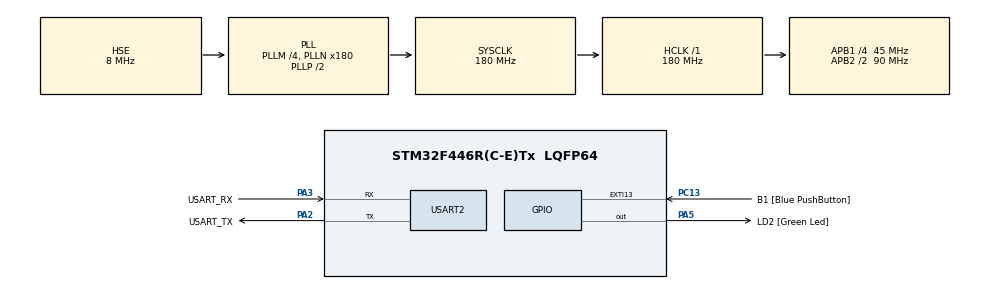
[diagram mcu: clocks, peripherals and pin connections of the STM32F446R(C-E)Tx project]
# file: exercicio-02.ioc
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FREERTOS.CountingSemaphores01=CountingSem,2,Dynamic,NULL,0
FREERTOS.Tasks01=Task01,32,128,StartTask01,Default,NULL,Dynamic,NULL,NULL;Task02,24,128,StartTask02,Default,NULL,Dynamic,NULL,NULL;Task03,16,128,StartTask03,Default,NULL,Dynamic,NULL,NULL
FREERTOS.configUSE_NEWLIB_REENTRANT=1
Mcu.Family=STM32F4
Mcu.Name=STM32F446R(C-E)Tx
Mcu.Package=LQFP64
NVIC.EXTI15_10_IRQn=true\:5\:0\:false\:false\:true\:true\:true\:true\:true
NVIC.PriorityGroup=NVIC_PRIORITYGROUP_4
NVIC.TIM2_IRQn=true\:15\:0\:false\:false\:true\:false\:false\:true\:true
NVIC.TimeBase=TIM2_IRQn
NVIC.TimeBaseIP=TIM2
PA13.GPIO_Label=TMS
PA13.Mode=Serial_Wire
PA13.Signal=SYS_JTMS-SWDIO
PA14.GPIO_Label=TCK
PA14.Mode=Serial_Wire
PA14.Signal=SYS_JTCK-SWCLK
PA2.GPIO_Label=USART_TX
PA2.Mode=Asynchronous
PA2.Signal=USART2_TX
PA3.GPIO_Label=USART_RX
PA3.Mode=Asynchronous
PA3.Signal=USART2_RX
PA5.GPIO_Label=LD2 [Green Led]
PA5.Signal=GPIO_Output
PB3.GPIO_Label=SWO
PB3.Signal=SYS_JTDO-SWO
PC13.GPIO_Label=B1 [Blue PushButton]
PC13.GPIO_ModeDefaultEXTI=GPIO_MODE_IT_FALLING
PC13.Signal=GPXTI13
PC14-OSC32_IN.Mode=LSE-External-Oscillator
PC14-OSC32_IN.Signal=RCC_OSC32_IN
PC15-OSC32_OUT.Mode=LSE-External-Oscillator
PC15-OSC32_OUT.Signal=RCC_OSC32_OUT
PH0-OSC_IN.Mode=HSE-External-Oscillator
PH0-OSC_IN.Signal=RCC_OSC_IN
PH1-OSC_OUT.Mode=HSE-External-Oscillator
PH1-OSC_OUT.Signal=RCC_OSC_OUT
ProjectManager.HeapSize=0x200
ProjectManager.StackSize=0x400
ProjectManager.TargetToolchain=STM32CubeIDE
RCC.48MHZClocksFreq_Value=84000000
RCC.AHBFreq_Value=180000000
RCC.APB1CLKDivider=RCC_HCLK_DIV4
RCC.APB1Freq_Value=45000000
RCC.APB1TimFreq_Value=90000000
RCC.APB2CLKDivider=RCC_HCLK_DIV2
RCC.APB2Freq_Value=90000000
RCC.APB2TimFreq_Value=180000000
RCC.CortexFreq_Value=180000000
RCC.EnbaleCSS=true
RCC.FLatency-AdvancedSettings=FLASH_LATENCY_5
RCC.HCLKFreq_Value=180000000
RCC.HSE_VALUE=8000000
RCC.HSI_VALUE=16000000
RCC.PLLM=4
RCC.PLLN=180
RCC.PLLSourceVirtual=RCC_PLLSOURCE_HSE
RCC.SYSCLKFreq_VALUE=180000000
RCC.SYSCLKSource=RCC_SYSCLKSOURCE_PLLCLK
RCC.USBFreq_Value=180000000
RCC.VCOOutputFreq_Value=360000000
USART2.VirtualMode=VM_ASYNC
VP_FREERTOS_VS_CMSIS_V2.Mode=CMSIS_V2
VP_SYS_VS_tim2.Mode=TIM2
board=NUCLEO-F446RE

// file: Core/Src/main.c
/* USER CODE BEGIN Header */
/**
  ******************************************************************************
  * @file           : main.c
  * @brief          : Main program body
  ******************************************************************************
  * @attention
  *
  * Copyright (c) 2025 STMicroelectronics.
  * All rights reserved.
  *
  * This software is licensed under terms that can be found in the LICENSE file
  * in the root directory of this software component.
  * If no LICENSE file comes with this software, it is provided AS-IS.
  *
  ******************************************************************************
  */
/* USER CODE END Header */
#include "main.h"
#include "cmsis_os.h"

/* USER CODE BEGIN Includes */
#include <stdio.h>
#include <string.h>
/* USER CODE END Includes */

UART_HandleTypeDef huart2;

/* Definitions for Task01 */
osThreadId_t Task01Handle;
const osThreadAttr_t Task01_attributes = {
  .name = "Task01",
  .stack_size = 128 * 4,
  .priority = (osPriority_t) osPriorityAboveNormal,
};
/* Definitions for Task02 */
osThreadId_t Task02Handle;
const osThreadAttr_t Task02_attributes = {
  .name = "Task02",
  .stack_size = 128 * 4,
  .priority = (osPriority_t) osPriorityNormal,
};
/* Definitions for Task03 */
osThreadId_t Task03Handle;
const osThreadAttr_t Task03_attributes = {
  .name = "Task03",
  .stack_size = 128 * 4,
  .priority = (osPriority_t) osPriorityBelowNormal,
};
/* Definitions for CountingSem */
osSemaphoreId_t CountingSemHandle;
const osSemaphoreAttr_t CountingSem_attributes = {
  .name = "CountingSem"
};
/* USER CODE BEGIN PV */
int val_sem = 0;
char buffer[50];
/* USER CODE END PV */

void SystemClock_Config(void);
static void MX_GPIO_Init(void);
static void MX_USART2_UART_Init(void);
void StartTask01(void *argument);
void StartTask02(void *argument);
void StartTask03(void *argument);

int main(void)
{

  /* MCU Configuration--------------------------------------------------------*/

  /* Reset of all peripherals, Initializes the Flash interface and the Systick. */
  HAL_Init();

  /* Configure the system clock */
  SystemClock_Config();

  /* Initialize all configured peripherals */
  MX_GPIO_Init();
  MX_USART2_UART_Init();

  /* Init scheduler */
  osKernelInitialize();

  /* Create the semaphores(s) */
  /* creation of CountingSem */
  CountingSemHandle = osSemaphoreNew(2, 0, &CountingSem_attributes);

  /* Create the thread(s) */
  /* creation of Task01 */
  Task01Handle = osThreadNew(StartTask01, NULL, &Task01_attributes);

  /* creation of Task02 */
  Task02Handle = osThreadNew(StartTask02, NULL, &Task02_attributes);

  /* creation of Task03 */
  Task03Handle = osThreadNew(StartTask03, NULL, &Task03_attributes);

  /* Start scheduler */
  osKernelStart();

  /* We should never get here as control is now taken by the scheduler */

  /* Infinite loop */
  while (1)
  {

  }
}

void SystemClock_Config(void)
{
  RCC_OscInitTypeDef RCC_OscInitStruct = {0};
  RCC_ClkInitTypeDef RCC_ClkInitStruct = {0};

  /** Configure the main internal regulator output voltage
  */
  __HAL_RCC_PWR_CLK_ENABLE();
  __HAL_PWR_VOLTAGESCALING_CONFIG(PWR_REGULATOR_VOLTAGE_SCALE1);

  /** Initializes the RCC Oscillators according to the specified parameters
  * in the RCC_OscInitTypeDef structure.
  */
  RCC_OscInitStruct.OscillatorType = RCC_OSCILLATORTYPE_HSE;
  RCC_OscInitStruct.HSEState = RCC_HSE_ON;
  RCC_OscInitStruct.PLL.PLLState = RCC_PLL_ON;
  RCC_OscInitStruct.PLL.PLLSource = RCC_PLLSOURCE_HSE;
  RCC_OscInitStruct.PLL.PLLM = 4;
  RCC_OscInitStruct.PLL.PLLN = 180;
  RCC_OscInitStruct.PLL.PLLP = RCC_PLLP_DIV2;
  RCC_OscInitStruct.PLL.PLLQ = 2;
  RCC_OscInitStruct.PLL.PLLR = 2;
  if (HAL_RCC_OscConfig(&RCC_OscInitStruct) != HAL_OK)
  {
    Error_Handler();
  }

  /** Activate the Over-Drive mode
  */
  if (HAL_PWREx_EnableOverDrive() != HAL_OK)
  {
    Error_Handler();
  }

  /** Initializes the CPU, AHB and APB buses clocks
  */
  RCC_ClkInitStruct.ClockType = RCC_CLOCKTYPE_HCLK|RCC_CLOCKTYPE_SYSCLK
                              |RCC_CLOCKTYPE_PCLK1|RCC_CLOCKTYPE_PCLK2;
  RCC_ClkInitStruct.SYSCLKSource = RCC_SYSCLKSOURCE_PLLCLK;
  RCC_ClkInitStruct.AHBCLKDivider = RCC_SYSCLK_DIV1;
  RCC_ClkInitStruct.APB1CLKDivider = RCC_HCLK_DIV4;
  RCC_ClkInitStruct.APB2CLKDivider = RCC_HCLK_DIV2;

  if (HAL_RCC_ClockConfig(&RCC_ClkInitStruct, FLASH_LATENCY_5) != HAL_OK)
  {
    Error_Handler();
  }

  /** Enables the Clock Security System
  */
  HAL_RCC_EnableCSS();
}

static void MX_USART2_UART_Init(void)
{

  huart2.Instance = USART2;
  huart2.Init.BaudRate = 115200;
  huart2.Init.WordLength = UART_WORDLENGTH_8B;
  huart2.Init.StopBits = UART_STOPBITS_1;
  huart2.Init.Parity = UART_PARITY_NONE;
  huart2.Init.Mode = UART_MODE_TX_RX;
  huart2.Init.HwFlowCtl = UART_HWCONTROL_NONE;
  huart2.Init.OverSampling = UART_OVERSAMPLING_16;
  if (HAL_UART_Init(&huart2) != HAL_OK)
  {
    Error_Handler();
  }

}

static void MX_GPIO_Init(void)
{
  GPIO_InitTypeDef GPIO_InitStruct = {0};

  /* GPIO Ports Clock Enable */
  __HAL_RCC_GPIOC_CLK_ENABLE();
  __HAL_RCC_GPIOH_CLK_ENABLE();
  __HAL_RCC_GPIOA_CLK_ENABLE();
  __HAL_RCC_GPIOB_CLK_ENABLE();

  /*Configure GPIO pin Output Level */
  HAL_GPIO_WritePin(LD2_GPIO_Port, LD2_Pin, GPIO_PIN_RESET);

  /*Configure GPIO pin : B1_Pin */
  GPIO_InitStruct.Pin = B1_Pin;
  GPIO_InitStruct.Mode = GPIO_MODE_IT_FALLING;
  GPIO_InitStruct.Pull = GPIO_NOPULL;
  HAL_GPIO_Init(B1_GPIO_Port, &GPIO_InitStruct);

  /*Configure GPIO pin : LD2_Pin */
  GPIO_InitStruct.Pin = LD2_Pin;
  GPIO_InitStruct.Mode = GPIO_MODE_OUTPUT_PP;
  GPIO_InitStruct.Pull = GPIO_NOPULL;
  GPIO_InitStruct.Speed = GPIO_SPEED_FREQ_LOW;
  HAL_GPIO_Init(LD2_GPIO_Port, &GPIO_InitStruct);

  /* EXTI interrupt init*/
  HAL_NVIC_SetPriority(EXTI15_10_IRQn, 5, 0);
  HAL_NVIC_EnableIRQ(EXTI15_10_IRQn);

}

/* USER CODE BEGIN 4 */
void HAL_GPIO_EXTI_Callback(uint16_t GPIO_Pin) {
	if (GPIO_Pin == B1_Pin) // B1_Pin é o pino do botão (PC13)
	{
		osSemaphoreRelease(CountingSemHandle);
	}
}
/* USER CODE END 4 */

void StartTask01(void *argument)
{
  /* USER CODE BEGIN 5 */
	/* Infinite loop */
	for (;;) {
		HAL_UART_Transmit(&huart2, (uint8_t*) "task01 aguardando semaforo...\n",
						strlen("task01 aguardando semaforo...\n"), 10);

		osSemaphoreAcquire(CountingSemHandle, osWaitForever);

		HAL_UART_Transmit(&huart2, (uint8_t*) "executando task01...\n",
				strlen("executando task01...\n"), 10);

		osDelay(1000);
	}
  /* USER CODE END 5 */
}

void StartTask02(void *argument)
{
  /* USER CODE BEGIN StartTask02 */
	/* Infinite loop */
	for (;;) {
		HAL_UART_Transmit(&huart2, (uint8_t*) "task02 aguardando semaforo...\n",
				strlen("task02 aguardando semaforo...\n"), 10);

		osSemaphoreAcquire(CountingSemHandle, osWaitForever);

		HAL_UART_Transmit(&huart2, (uint8_t*) "executando task02...\n",
				strlen("executando task02...\n"), 10);

		osDelay(1000);
	}
  /* USER CODE END StartTask02 */
}

void StartTask03(void *argument)
{
  /* USER CODE BEGIN StartTask03 */
	/* Infinite loop */
	for (;;) {
		HAL_UART_Transmit(&huart2, (uint8_t*) "task03 aguardando semaforo...\n",
				strlen("task03 aguardando semaforo...\n"), 10);

		osSemaphoreAcquire(CountingSemHandle, osWaitForever);

		HAL_UART_Transmit(&huart2, (uint8_t*) "executando task03...\n",
				strlen("executando task03...\n"), 10);

		osDelay(1000);
	}
  /* USER CODE END StartTask03 */
}

void HAL_TIM_PeriodElapsedCallback(TIM_HandleTypeDef *htim)
{
  if (htim->Instance == TIM2)
  {
    HAL_IncTick();
  }
}

void Error_Handler(void)
{
  __disable_irq();
  while (1)
  {
  }
}
